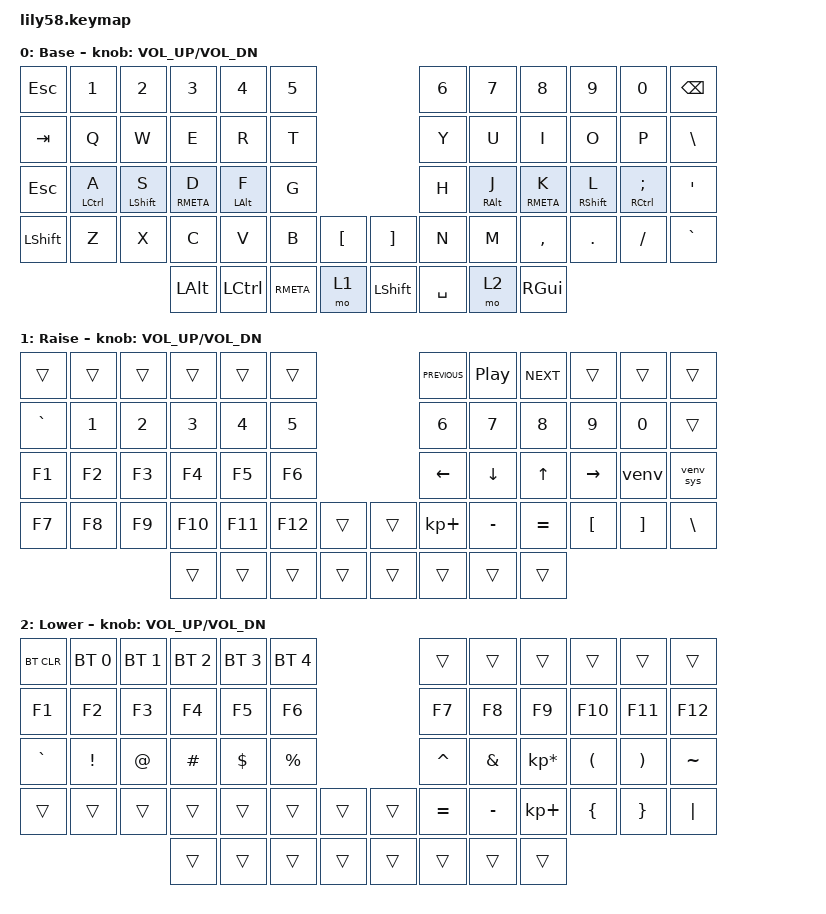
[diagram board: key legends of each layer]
/*
 * Copyright (c) 2020 The ZMK Contributors
 *
 * SPDX-License-Identifier: MIT
 */

#include <behaviors.dtsi>
#include <dt-bindings/zmk/bt.h>
#include <dt-bindings/zmk/keys.h>

/ {
    combos {
        compatible = "zmk,combos";

        ent_combo {
            bindings = <&kp ENTER>;
            key-positions = <32 33>;
            timeout-ms = <200>;
            layers = <0 1 2>;
            require-prior-idle-ms = <100>;
        };

        bcsp {
            bindings = <&kp BACKSPACE>;
            key-positions = <33 34>;
            timeout-ms = <400>;
            layers = <0 1 2>;
            require-prior-idle-ms = <100>;
        };

        equals {
            bindings = <&kp EQUAL>;
            key-positions = <29 30>;
            timeout-ms = <400>;
            require-prior-idle-ms = <100>;
            layers = <0 1 2>;
        };

        minus {
            bindings = <&kp MINUS>;
            key-positions = <16 19>;
            timeout-ms = <400>;
            require-prior-idle-ms = <100>;
            layers = <0 2 1>;
        };

        underscore {
            bindings = <&kp UNDER>;
            key-positions = <40 45>;
            timeout-ms = <400>;
            require-prior-idle-ms = <100>;
            layers = <0 2 1>;
        };

        esc {
            bindings = <&kp ESCAPE>;
            key-positions = <31 32>;
            timeout-ms = <50>;
            require-prior-idle-ms = <100>;
            layers = <0 1 2>;
        };

        pss {
            bindings = <&venv>;
            key-positions = <19 20 21 22>;
            timeout-ms = <100>;
            require-prior-idle-ms = <500>;
            layers = <0>;
        };
    };

    behaviors {
        hml: hml {
            compatible = "zmk,behavior-hold-tap";
            label = "HML";
            bindings = <&kp>, <&kp>;

            #binding-cells = <2>;
            tapping-term-ms = <269>;
            quick-tap-ms = <175>;
            flavor = "balanced";
            hold-trigger-key-positions = <0 1 2 3 4 5 12 13 14 15 16 17 24 25 26 27 28 29 36 37 38 39 40 41 42 50 51 52 53>;
            hold-trigger-on-release;
            require-prior-idle-ms = <111>;
        };

        hmr: hmr {
            compatible = "zmk,behavior-hold-tap";
            label = "HMR";
            bindings = <&kp>, <&kp>;

            #binding-cells = <2>;
            tapping-term-ms = <269>;
            quick-tap-ms = <175>;
            flavor = "balanced";
            hold-trigger-on-release;
            hold-trigger-key-positions = <6 7 8 9 10 11 18 19 20 21 22 23 30 31 32 33 34 35 43 44 45 46 47 48 49 54 55 56 57>;
            require-prior-idle-ms = <111>;
        };
    };

    macros {
        venv: venv {
            compatible = "zmk,behavior-macro";
            #binding-cells = <0>;
            bindings = <&kp O &kp H &kp SPACE &kp H &kp O &kp W &kp SPACE &kp T &kp H &kp E &kp SPACE &kp T &kp U &kp R &kp N &kp SPACE &kp T &kp A &kp B &kp L &kp E &kp S &kp ENTER>;
            label = "VENV";
            wait-ms = <40>;
            tap-ms = <40>;
        };

        venv_sys: venv_sys {
            compatible = "zmk,behavior-macro";
            #binding-cells = <0>;
            bindings = <&kp D &kp E &kp V &kp I &kp L &kp MINUS &kp B &kp L &kp O &kp O &kp D &kp MINUS &kp C &kp O &kp N &kp T &kp R &kp A &kp C &kp T &kp MINUS &kp F &kp I &kp G &kp H &kp T &kp RETURN>;
            label = "VENV_SYS";
        };
    };

    keymap {
        compatible = "zmk,keymap";

        default_layer {
            // ------------------------------------------------------------------------------------------------------------
            // |  ESC  |  1  |  2  |  3   |  4   |  5   |                   |  6   |  7    |  8    |  9   |   0   |   `   |
            // |  TAB  |  Q  |  W  |  E   |  R   |  T   |                   |  Y   |  U    |  I    |  O   |   P   |   -   |
            // |  CTRL |  A  |  S  |  D   |  F   |  G   |                   |  H   |  J    |  K    |  L   |   ;   |   '   |
            // | SHIFT |  Z  |  X  |  C   |  V   |  B   |   "["  |  |  "]"  |  N   |  M    |  ,    |  .   |   /   | SHIFT |
            //                     | ALT  | GUI  | LOWER|  SPACE |  | ENTER | RAISE| BSPC  | GUI   |

            display-name = "Base";
            bindings = <
&kp ESC     &kp N1               &kp N2             &kp N3        &kp N4            &kp N5                                 &kp N6     &kp N7            &kp N8        &kp N9              &kp N0                        &kp BACKSPACE
&kp TAB     &kp Q                &kp W              &kp E         &kp R             &kp T                                  &kp Y      &kp U             &kp I         &kp O               &kp P                         &kp BACKSLASH
&kp ESCAPE  &hml LEFT_CONTROL A  &hml LEFT_SHIFT S  &hml RMETA D  &hml LEFT_ALT F   &kp G                                  &kp H      &hmr RIGHT_ALT J  &hmr RMETA K  &hmr RIGHT_SHIFT L  &hmr RIGHT_CONTROL SEMICOLON  &kp SQT
&kp LSHFT   &kp Z                &kp X              &kp C         &kp V             &kp B      &kp LBKT    &kp RBKT        &kp N      &kp M             &kp COMMA     &kp DOT             &kp FSLH                      &kp GRAVE
                                                    &kp LALT      &kp LEFT_CONTROL  &kp RMETA  &mo 1       &kp LEFT_SHIFT  &kp SPACE  &mo 2             &kp RGUI
            >;

            sensor-bindings = <&inc_dec_kp C_VOL_UP C_VOL_DN>;
        };

        raise_layer {
            // ------------------------------------------------------------------------------------------------------------
            // |       |     |     |      |      |      |                   |      |       |       |      |       |       |
            // |   `   |  1  |  2  |  3   |  4   |  5   |                   |  6   |   7   |   8   |  9   |   0   |       |
            // |   F1  |  F2 |  F3 |  F4  |  F5  |  F6  |                   |      |   <-  |   v   |  ^   |  ->   |       |
            // |   F7  |  F8 |  F9 |  F10 |  F11 |  F12 |        |  |       |  +   |   -   |   =   |  [   |   ]   |   \   |
            //                     |      |      |      |        |  |       |      |       |       |

            display-name = "Raise";
            bindings = <
&trans     &trans  &trans  &trans   &trans   &trans                     &kp C_PREVIOUS  &kp C_PLAY_PAUSE  &kp C_NEXT    &trans     &trans    &trans
&kp GRAVE  &kp N1  &kp N2  &kp N3   &kp N4   &kp N5                     &kp N6          &kp N7            &kp N8        &kp N9     &kp N0    &trans
&kp F1     &kp F2  &kp F3  &kp F4   &kp F5   &kp F6                     &kp LEFT_ARROW  &kp DOWN          &kp UP_ARROW  &kp RIGHT  &venv     &venv_sys
&kp F7     &kp F8  &kp F9  &kp F10  &kp F11  &kp F12  &trans    &trans  &kp KP_PLUS     &kp MINUS         &kp EQUAL     &kp LBKT   &kp RBKT  &kp BSLH
                           &trans   &trans   &trans   &trans    &trans  &trans          &trans            &trans
            >;

            sensor-bindings = <&inc_dec_kp C_VOL_UP C_VOL_DN>;
        };

        lower_layer {
            // ------------------------------------------------------------------------------------------------------------
            // | BTCLR | BT1 | BT2 |  BT3 |  BT4 |  BT5 |                   |      |       |       |      |       |       |
            // |  F1   |  F2 |  F3 |  F4  |  F5  |  F6  |                   |  F7  |  F8   |  F9   |  F10 |  F11  |  F12  |
            // |   `   |  !  |  @  |  #   |  $   |  %   |                   |  ^   |  &    |  *    |  (   |   )   |   ~   |
            // |       |     |     |      |      |      |        |  |       |      |  _    |  +    |  {   |   }   |  "|"  |
            //                     |      |      |      |        |  |       |      |       |       |

            display-name = "Lower";
            bindings = <
&bt BT_CLR  &bt BT_SEL 0  &bt BT_SEL 1  &bt BT_SEL 2  &bt BT_SEL 3  &bt BT_SEL 4                    &trans     &trans     &trans           &trans    &trans    &trans
&kp F1      &kp F2        &kp F3        &kp F4        &kp F5        &kp F6                          &kp F7     &kp F8     &kp F9           &kp F10   &kp F11   &kp F12
&kp GRAVE   &kp EXCL      &kp AT        &kp HASH      &kp DOLLAR    &kp PRCNT                       &kp CARET  &kp AMPS   &kp KP_MULTIPLY  &kp LPAR  &kp RPAR  &kp TILDE
&trans      &trans        &trans        &trans        &trans        &trans        &trans    &trans  &kp EQUAL  &kp MINUS  &kp KP_PLUS      &kp LBRC  &kp RBRC  &kp PIPE
                                        &trans        &trans        &trans        &trans    &trans  &trans     &trans     &trans
            >;

            sensor-bindings = <&inc_dec_kp C_VOL_UP C_VOL_DN>;
        };

        extra_1 { status = "reserved"; };

        extra_2 { status = "reserved"; };

        extra_3 { status = "reserved"; };
    };
};
